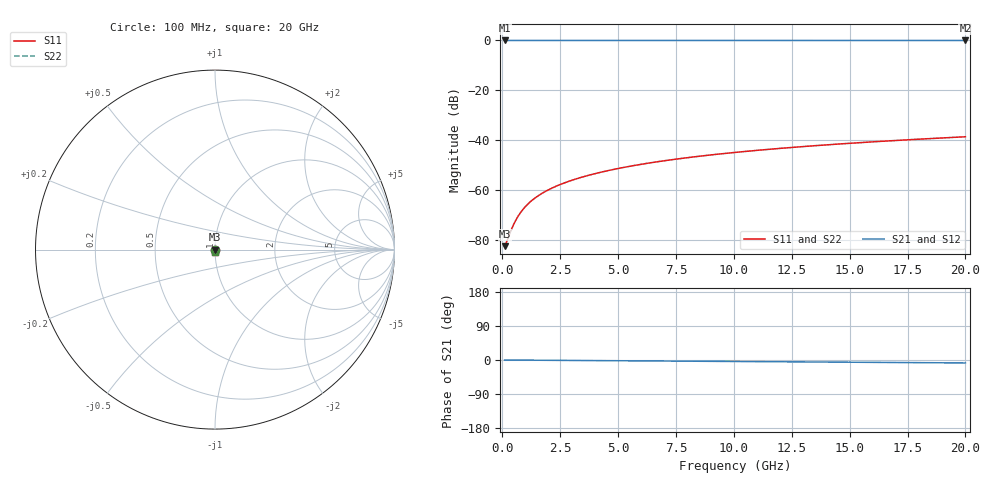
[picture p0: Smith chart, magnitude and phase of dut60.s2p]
! Touchstone file exported from HFSS 2026.1.0
!  File:  C:/ffzhzh/LocalFiles/Ansys_Project_Files/temp_train_TSV_60_1782959020_45748.aedt
!  Generated:  10:25:05 AM Jul  2, 2026
!  Design:  TSV
!  Project:  temp_train_TSV_60_1782959020_45748
! Variables:
!  h_bsmrdl = 2um
!  h_ox = 20um
!  h_rdl = 5um
!  h_sub = 75.94um
!  h_tmrdl = 5um
!  h_tsv = 75.94um
!  h_via = 3um
!  l_bsmrdl = 300um
!  l_sub = 428.84um
!  l_tmrdl = 200um
!  m_sub = 200um
!  pitch = 52.64um
!  r_tsv = 14.42um
!  s_tmrdl = 10um
!  w_bsmrdl = 18um
!  w_sub = 500um
!  w_tmrdl = 12um
!  x_tsv_center1 = 206um
!  x_tsv_center2 = 524um
!  x_tsv_center3 = 736um
!  x_tsv_center4 = 1054um
!  x_tsv_center5 = 1266um
!  x_tsv_center6 = 1584um
# GHz S MA R 50.000000
! Terminal data exported
! Port[1] = TSV1_1_T1
! Port[2] = TSV1_1_T2
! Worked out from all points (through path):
!   200 points, 100 MHz to 20 GHz, reference 50 ohm
!   highest |S21| = 0.00 dB at 100 MHz (marker M1); lowest = 0.0 dB at 20 GHz (marker M2)
!   group delay of S21, straight-line fit = 1.08 ps
!   lowest |S11| = -82.5 dB at 100 MHz (marker M3), VSWR 1.00, Z = 50 - j0.00192 ohm
!   |S11| at or under -10 dB: start of sweep to end of sweep
!   |S22| runs from -82.5 to -38.6 dB; largest |S21 - S12| = 2.5e-15
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0.1  7.519e-05 -14.8  0.9999 -0.0  0.9999 -0.0  7.519e-05 -14.8
! Gamma 0 0 0 0
! Port Impedance 50 0 50 0
0.2  9.536e-05 -26.1  0.9999 -0.1  0.9999 -0.1  9.536e-05 -26.1
0.3  0.000126 -34.1  0.9999 -0.1  0.9999 -0.1  0.000126 -34.1
0.4  0.0001647 -40.1  0.9999 -0.2  0.9999 -0.2  0.0001647 -40.1
0.5  0.0002091 -44.9  0.9999 -0.2  0.9999 -0.2  0.0002091 -44.9
0.6  0.0002574 -49.0  0.9998 -0.2  0.9998 -0.2  0.0002574 -49.0
0.8  0.0003609 -55.5  0.9998 -0.3  0.9998 -0.3  0.0003609 -55.5
1  0.0004686 -60.3  0.9998 -0.4  0.9998 -0.4  0.0004686 -60.3
1.3  0.0006328 -65.6  0.9997 -0.5  0.9997 -0.5  0.0006328 -65.6
1.7  0.0008527 -70.2  0.9997 -0.7  0.9997 -0.7  0.0008527 -70.2
2.2  0.001128 -73.9  0.9997 -0.9  0.9997 -0.9  0.001128 -73.9
2.8  0.001461 -76.7  0.9996 -1.1  0.9996 -1.1  0.001461 -76.7
3.5  0.001853 -78.9  0.9996 -1.4  0.9996 -1.4  0.001853 -78.9
4.2  0.00225 -80.4  0.9996 -1.6  0.9996 -1.6  0.00225 -80.4
5  0.00271 -81.8  0.9995 -2.0  0.9995 -2.0  0.00271 -81.8
5.9  0.003234 -83.0  0.9995 -2.3  0.9995 -2.3  0.003234 -83.0
6.8  0.003763 -84.0  0.9994 -2.7  0.9994 -2.7  0.003763 -84.0
8.3  0.004652 -85.5  0.9994 -3.2  0.9994 -3.2  0.004652 -85.5
10.1  0.005726 -87.1  0.9993 -3.9  0.9993 -3.9  0.005726 -87.1
13.4  0.00771 -89.4  0.9992 -5.2  0.9992 -5.2  0.00771 -89.4
16.7  0.009709 -91.3  0.9991 -6.5  0.9991 -6.5  0.009709 -91.3
20  0.01173 -93.0  0.999 -7.8  0.999 -7.8  0.01173 -93.0
